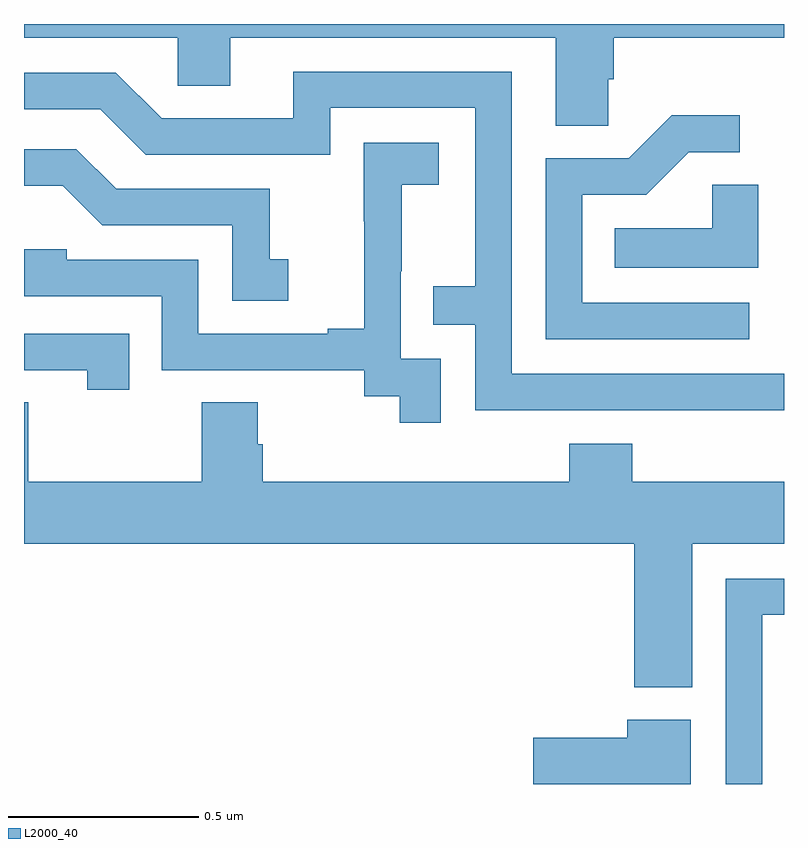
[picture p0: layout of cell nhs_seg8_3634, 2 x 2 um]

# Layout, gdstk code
import gdstk
lib = gdstk.Library(unit=1e-6, precision=1e-09)
def P(c, l, *ps):  # polygons
    for p in ps: c.add(gdstk.Polygon(p, *l))
L2000_40 = (2000, 40)

nhs_seg8_3634 = lib.new_cell('nhs_seg8_3634')
P(nhs_seg8_3634, L2000_40, [(161.538,1085.755),(161.552,1085.755),(161.552,1085.864),(162,1085.864),(162,1085.9),(160,1085.9),(160,1085.864),(160.404,1085.864),(160.404,1085.737),(160.543,1085.737),(160.543,1085.864),(161.399,1085.864),(161.399,1085.632),(161.538,1085.632)],
  [(162,1084.98),(161.283,1084.98),(161.283,1085.775),(160.709,1085.775),(160.709,1085.652),(160.362,1085.652),(160.242,1085.772),(160,1085.772),(160,1085.676),(160.2,1085.676),(160.32,1085.556),(160.806,1085.556),(160.806,1085.679),(161.187,1085.679),(161.187,1085.21),(161.077,1085.21),(161.077,1085.109),(161.187,1085.109),(161.187,1084.884),(161.683,1084.884),(161.683,1084.883),(162,1084.883)],
  [(161.908,1085.166),(161.469,1085.166),(161.469,1085.451),(161.638,1085.451),(161.749,1085.562),(161.884,1085.562),(161.884,1085.66),(161.705,1085.66),(161.592,1085.547),(161.373,1085.547),(161.373,1085.07),(161.908,1085.07)],
  [(161.097,1085.019),(160.992,1085.019),(160.992,1085.249),(160.994,1085.249),(160.994,1085.477),(161.092,1085.477),(161.092,1085.587),(160.894,1085.587),(160.894,1085.381),(160.895,1085.381),(160.895,1085.098),(160.799,1085.098),(160.799,1085.085),(160.458,1085.085),(160.458,1085.28),(160.113,1085.28),(160.113,1085.307),(160,1085.307),(160,1085.184),(160.362,1085.184),(160.362,1084.989),(160.896,1084.989),(160.896,1084.921),(160.989,1084.921),(160.989,1084.851),(161.097,1084.851)],
  [(160.696,1085.281),(160.647,1085.281),(160.647,1085.466),(160.243,1085.466),(160.138,1085.571),(160,1085.571),(160,1085.474),(160.102,1085.474),(160.206,1085.37),(160.548,1085.37),(160.548,1085.172),(160.696,1085.172)],
  [(161.932,1085.477),(161.811,1085.477),(161.811,1085.362),(161.554,1085.362),(161.554,1085.258),(161.932,1085.258)],
  [(160.277,1085.085),(160,1085.085),(160,1084.989),(160.166,1084.989),(160.166,1084.938),(160.277,1084.938)],
  [(161.6,1084.795),(161.435,1084.795),(161.435,1084.696),(160.628,1084.696),(160.628,1084.794),(160.615,1084.794),(160.615,1084.904),(160.468,1084.904),(160.468,1084.696),(160.011,1084.696),(160.011,1084.904),(160,1084.904),(160,1084.532),(161.606,1084.532),(161.606,1084.154),(161.758,1084.154),(161.758,1084.532),(162,1084.532),(162,1084.696),(161.6,1084.696)],
  [(161.943,1084.345),(162,1084.345),(162,1084.44),(161.847,1084.44),(161.847,1083.9),(161.943,1083.9)],
  [(161.755,1084.069),(161.588,1084.069),(161.588,1084.022),(161.34,1084.022),(161.34,1083.9),(161.755,1083.9)])

lib.write_gds('nhs_seg8_3634.gds')
